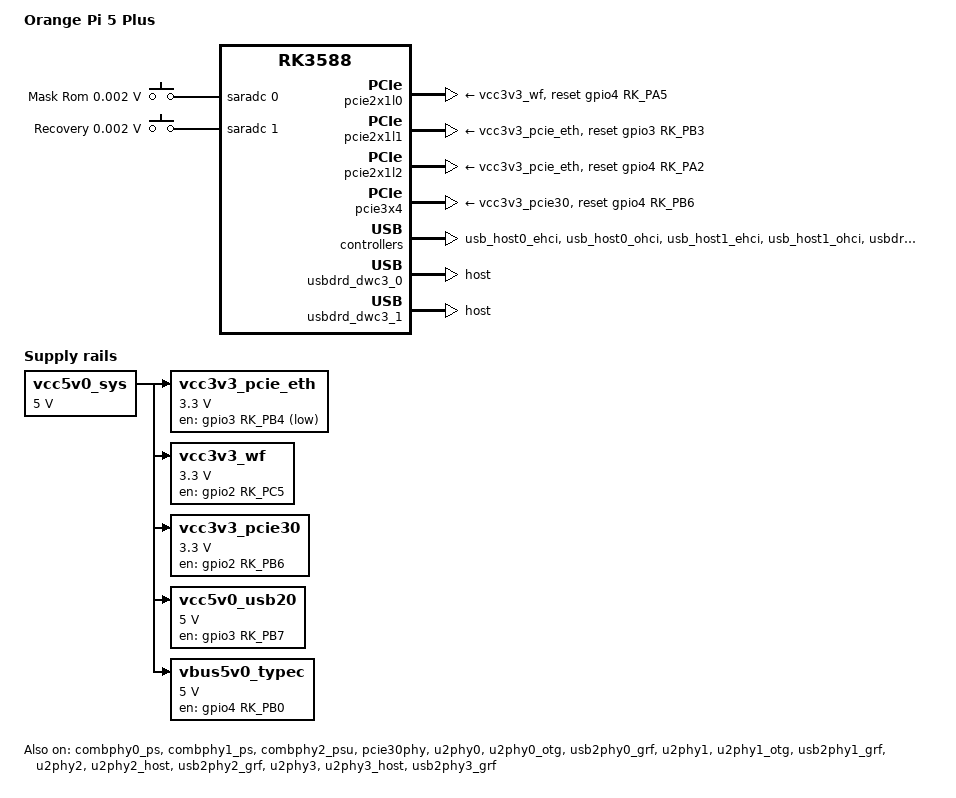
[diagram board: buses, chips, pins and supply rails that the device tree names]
// SPDX-License-Identifier: (GPL-2.0+ OR MIT)
/*
 * Copyright (c) 2021 Rockchip Electronics Co., Ltd
 *
 */

/dts-v1/;
#include "rk3588.dtsi"
#include "rk3588-u-boot.dtsi"
#include <dt-bindings/input/input.h>

/ {
	model = "Orange Pi 5 Plus";
	compatible = "xunlong,orangepi-5-plus", "rockchip,rk3588";

	adc-keys {
		compatible = "adc-keys";
		io-channels = <&saradc 0>;
		io-channel-names = "buttons";
		keyup-threshold-microvolt = <1800000>;
		poll-interval = <100>;

		button-maskrom {
			label = "Mask Rom";
			linux,code = <KEY_SETUP>;
			press-threshold-microvolt = <2000>;
		};
	};

	adc-keys-1 {
		compatible = "adc-keys";
		io-channels = <&saradc 1>;
		io-channel-names = "buttons";
		keyup-threshold-microvolt = <1800000>;
		poll-interval = <100>;

		button-recovery {
			label = "Recovery";
			linux,code = <KEY_VENDOR>;
			press-threshold-microvolt = <2000>;
		};
	};

	vcc5v0_sys: vcc5v0-sys {
		u-boot,dm-pre-reloc;
		compatible = "regulator-fixed";
		regulator-name = "vcc5v0_sys";
		regulator-always-on;
		regulator-boot-on;
		regulator-min-microvolt = <5000000>;
		regulator-max-microvolt = <5000000>;
	};

	vcc3v3_pcie_eth: vcc3v3-pcie-eth-regulator {
		u-boot,dm-pre-reloc;
		compatible = "regulator-fixed";
		gpios = <&gpio3 RK_PB4 GPIO_ACTIVE_LOW>;
		regulator-name = "vcc3v3_pcie_eth";
		regulator-min-microvolt = <3300000>;
		regulator-max-microvolt = <3300000>;
		startup-delay-us = <50000>;
		vin-supply = <&vcc5v0_sys>;
	};

	vcc3v3_wf: vcc3v3-wf-regulator {
		u-boot,dm-pre-reloc;
		compatible = "regulator-fixed";
		enable-active-high;
		gpios = <&gpio2 RK_PC5 GPIO_ACTIVE_HIGH>;
		regulator-name = "vcc3v3_wf";
		regulator-min-microvolt = <3300000>;
		regulator-max-microvolt = <3300000>;
		startup-delay-us = <50000>;
		vin-supply = <&vcc5v0_sys>;
	};

	vcc3v3_pcie30: vcc3v3-pcie30-regulator {
		u-boot,dm-pre-reloc;
		compatible = "regulator-fixed";
		enable-active-high;
		gpios = <&gpio2 RK_PB6 GPIO_ACTIVE_HIGH>;
		regulator-name = "vcc3v3_pcie30";
		regulator-min-microvolt = <3300000>;
		regulator-max-microvolt = <3300000>;
		startup-delay-us = <5000>;
		vin-supply = <&vcc5v0_sys>;
	};

	vcc5v0_usb20: vcc5v0-usb20-regulator {
		u-boot,dm-pre-reloc;
		compatible = "regulator-fixed";
		enable-active-high;
		gpio = <&gpio3 RK_PB7 GPIO_ACTIVE_HIGH>;
		pinctrl-names = "default";
		pinctrl-0 = <&vcc5v0_usb20_en>;
		regulator-name = "vcc5v0_usb20";
		regulator-min-microvolt = <5000000>;
		regulator-max-microvolt = <5000000>;
		vin-supply = <&vcc5v0_sys>;
	};

	vbus5v0_typec: vbus5v0-typec-regulator {
		u-boot,dm-pre-reloc;
		compatible = "regulator-fixed";
		enable-active-high;
		gpio = <&gpio4 RK_PB0 GPIO_ACTIVE_HIGH>;
		regulator-name = "vbus5v0_typec";
		regulator-min-microvolt = <5000000>;
		regulator-max-microvolt = <5000000>;
		pinctrl-names = "default";
		pinctrl-0 = <&typec5v_pwren>;
		vin-supply = <&vcc5v0_sys>;
	};
};

&combphy0_ps {
	u-boot,dm-pre-reloc;
	status = "okay";
};

&combphy1_ps {
	u-boot,dm-pre-reloc;
	status = "okay";
};

&combphy2_psu {
	u-boot,dm-pre-reloc;
	status = "okay";
};

/* phy1 - M.KEY socket */
&pcie2x1l0 {
	u-boot,dm-pre-reloc;
	reset-gpios = <&gpio4 RK_PA5 GPIO_ACTIVE_HIGH>;
	vpcie3v3-supply = <&vcc3v3_wf>;
	status = "okay";
};

/* phy2 - right ethernet port */
&pcie2x1l1 {
	u-boot,dm-pre-reloc;
	reset-gpios = <&gpio3 RK_PB3 GPIO_ACTIVE_HIGH>;
	vpcie3v3-supply = <&vcc3v3_pcie_eth>;
	status = "okay";
};

/* phy0 - left ethernet port */
&pcie2x1l2 {
	u-boot,dm-pre-reloc;
	reset-gpios = <&gpio4 RK_PA2 GPIO_ACTIVE_HIGH>;
	vpcie3v3-supply = <&vcc3v3_pcie_eth>;
	status = "okay";
};

&pcie30phy {
	u-boot,dm-pre-reloc;
	status = "okay";
};

&pcie3x4 {
	u-boot,dm-pre-reloc;
	reset-gpios = <&gpio4 RK_PB6 GPIO_ACTIVE_HIGH>;
	vpcie3v3-supply = <&vcc3v3_pcie30>;
	status = "okay";
};

&u2phy0 {
	u-boot,dm-pre-reloc;
	status = "okay";
};

&u2phy0_otg {
	u-boot,dm-pre-reloc;
	status = "okay";
};

&usb2phy0_grf {
	u-boot,dm-pre-reloc;
	status = "okay";
};

&u2phy1 {
	u-boot,dm-pre-reloc;
	status = "okay";
};

&u2phy1_otg {
	u-boot,dm-pre-reloc;
	status = "okay";
};

&usb2phy1_grf {
	u-boot,dm-pre-reloc;
	status = "okay";
};

&u2phy2 {
	u-boot,dm-pre-reloc;
	status = "okay";
};

&u2phy2_host {
	u-boot,dm-pre-reloc;
	phy-supply = <&vcc5v0_usb20>;
	status = "okay";
};

&usb2phy2_grf {
	u-boot,dm-pre-reloc;
	status = "okay";
};

&u2phy3 {
	u-boot,dm-pre-reloc;
	status = "okay";
};

&u2phy3_host {
	u-boot,dm-pre-reloc;
	phy-supply = <&vcc5v0_usb20>;
	status = "okay";
};

&usb2phy3_grf {
	u-boot,dm-pre-reloc;
	status = "okay";
};

&usb_host0_ehci {
	u-boot,dm-pre-reloc;
	status = "okay";
};

&usb_host0_ohci {
	u-boot,dm-pre-reloc;
	status = "okay";
};

&usb_host1_ehci {
	u-boot,dm-pre-reloc;
	status = "okay";
};

&usb_host1_ohci {
	u-boot,dm-pre-reloc;
	status = "okay";
};

&usbdrd3_0 {
	u-boot,dm-pre-reloc;
	status = "okay";
};

&usbdrd_dwc3_0 {
	u-boot,dm-pre-reloc;
	dr_mode = "host";
	status = "okay";
};

&usbdrd3_1 {
	u-boot,dm-pre-reloc;
	status = "okay";
};

&usbdrd_dwc3_1 {
	u-boot,dm-pre-reloc;
	dr_mode = "host";
	status = "okay";
};

&pinctrl {
	usb {
		u-boot,dm-pre-reloc;

		typec5v_pwren: typec5v-pwren {
			u-boot,dm-pre-reloc;
			rockchip,pins = <4 RK_PB0 RK_FUNC_GPIO &pcfg_pull_none>;
		};

		usbc0_int: usbc0-int {
			u-boot,dm-pre-reloc;
			rockchip,pins = <0 RK_PD3 RK_FUNC_GPIO &pcfg_pull_up>;
		};

		vcc5v0_usb20_en: vcc5v0-usb20-en {
			u-boot,dm-pre-reloc;
			rockchip,pins = <3 RK_PB7 RK_FUNC_GPIO &pcfg_pull_none>;
		};
	};
};
